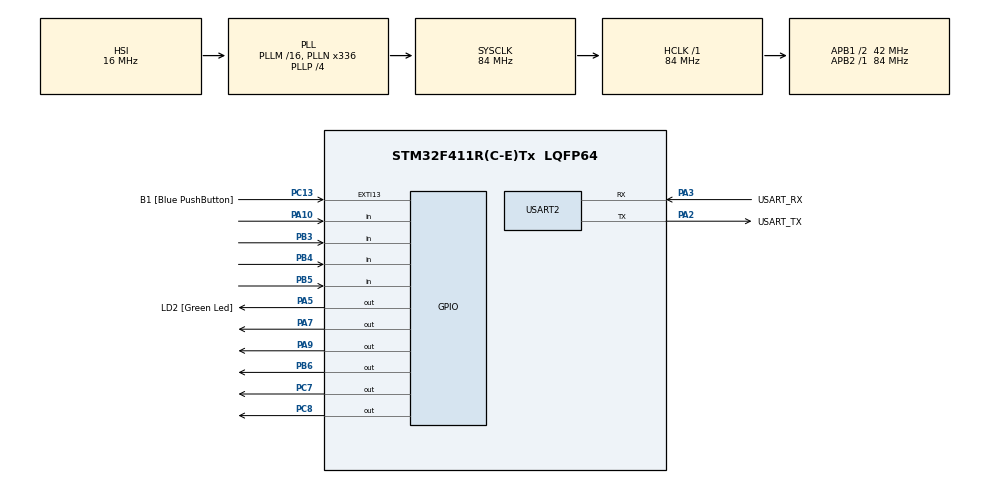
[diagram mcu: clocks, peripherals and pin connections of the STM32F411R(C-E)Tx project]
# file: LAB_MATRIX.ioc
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Mcu.Family=STM32F4
Mcu.Name=STM32F411R(C-E)Tx
Mcu.Package=LQFP64
NVIC.PriorityGroup=NVIC_PRIORITYGROUP_0
PA10.GPIO_PuPd=GPIO_PULLUP
PA10.Signal=GPIO_Input
PA13.GPIO_Label=TMS
PA13.Mode=Serial_Wire
PA13.Signal=SYS_JTMS-SWDIO
PA14.GPIO_Label=TCK
PA14.Mode=Serial_Wire
PA14.Signal=SYS_JTCK-SWCLK
PA2.GPIO_Label=USART_TX
PA2.Mode=Asynchronous
PA2.Signal=USART2_TX
PA3.GPIO_Label=USART_RX
PA3.Mode=Asynchronous
PA3.Signal=USART2_RX
PA5.GPIO_Label=LD2 [Green Led]
PA5.Signal=GPIO_Output
PA7.GPIO_ModeDefaultOutputPP=GPIO_MODE_OUTPUT_OD
PA7.PinState=GPIO_PIN_SET
PA7.Signal=GPIO_Output
PA9.GPIO_ModeDefaultOutputPP=GPIO_MODE_OUTPUT_OD
PA9.PinState=GPIO_PIN_SET
PA9.Signal=GPIO_Output
PB3.GPIO_PuPd=GPIO_PULLUP
PB3.Signal=GPIO_Input
PB4.GPIO_PuPd=GPIO_PULLUP
PB4.Signal=GPIO_Input
PB5.GPIO_PuPd=GPIO_PULLUP
PB5.Signal=GPIO_Input
PB6.GPIO_ModeDefaultOutputPP=GPIO_MODE_OUTPUT_OD
PB6.PinState=GPIO_PIN_SET
PB6.Signal=GPIO_Output
PC13-ANTI_TAMP.GPIO_Label=B1 [Blue PushButton]
PC13-ANTI_TAMP.GPIO_ModeDefaultEXTI=GPIO_MODE_IT_FALLING
PC13-ANTI_TAMP.Signal=GPXTI13
PC14-OSC32_IN.Mode=LSE-External-Oscillator
PC14-OSC32_IN.Signal=RCC_OSC32_IN
PC15-OSC32_OUT.Mode=LSE-External-Oscillator
PC15-OSC32_OUT.Signal=RCC_OSC32_OUT
PC7.GPIO_ModeDefaultOutputPP=GPIO_MODE_OUTPUT_OD
PC7.PinState=GPIO_PIN_SET
PC7.Signal=GPIO_Output
PC8.Signal=GPIO_Output
PH0\ -\ OSC_IN.Mode=HSE-External-Clock-Source
PH0\ -\ OSC_IN.Signal=RCC_OSC_IN
PH1\ -\ OSC_OUT.Mode=HSE-External-Clock-Source
PH1\ -\ OSC_OUT.Signal=RCC_OSC_OUT
ProjectManager.HeapSize=0x200
ProjectManager.StackSize=0x400
ProjectManager.TargetToolchain=STM32CubeIDE
RCC.48MHZClocksFreq_Value=84000000
RCC.AHBFreq_Value=84000000
RCC.APB1CLKDivider=RCC_HCLK_DIV2
RCC.APB1Freq_Value=42000000
RCC.APB1TimFreq_Value=84000000
RCC.APB2Freq_Value=84000000
RCC.APB2TimFreq_Value=84000000
RCC.CortexFreq_Value=84000000
RCC.FLatency-AdvancedSettings=FLASH_LATENCY_2
RCC.HCLKFreq_Value=84000000
RCC.HSE_VALUE=8000000
RCC.HSI_VALUE=16000000
RCC.PLLN=336
RCC.PLLP=RCC_PLLP_DIV4
RCC.SYSCLKFreq_VALUE=84000000
RCC.SYSCLKSource=RCC_SYSCLKSOURCE_PLLCLK
RCC.VCOOutputFreq_Value=336000000
USART2.VirtualMode=VM_ASYNC
board=NUCLEO-F411RE

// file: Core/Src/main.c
/* USER CODE BEGIN Header */
/**
 ******************************************************************************
 * @file           : main.c
 * @brief          : Main program body
 ******************************************************************************
 * @attention
 *
 * <h2><center>&copy; Copyright (c) 2021 STMicroelectronics.
 * All rights reserved.</center></h2>
 *
 * This software component is licensed by ST under BSD 3-Clause license,
 * the "License"; You may not use this file except in compliance with the
 * License. You may obtain a copy of the License at:
 *                        opensource.org/licenses/BSD-3-Clause
 *
 ******************************************************************************
 */
/* USER CODE END Header */
#include "main.h"

UART_HandleTypeDef huart2;

/* USER CODE BEGIN PV */
//save status matrix
/* USER CODE END PV */

void SystemClock_Config(void);
static void MX_GPIO_Init(void);
static void MX_USART2_UART_Init(void);
/* USER CODE BEGIN PFP */
//scan and update of button matrix
uint16_t ButtonMatrixState = 0;
uint32_t ButtonMatrixTimestamp = 0;
uint32_t numnow = 0;
uint8_t state = 1;
uint16_t ButtonMatrixstatepre=0;

enum {
	one=1,two,three,four,five,six,saven,egg,nine,ten,even,twelve,waitclear,clear = 10,BS = 11,ok = 12
	};
void ButtonMatrixUpdate();
void checknumpress();
void q();

/* USER CODE END PFP */

int main(void)
{

  /* MCU Configuration--------------------------------------------------------*/

  /* Reset of all peripherals, Initializes the Flash interface and the Systick. */
  HAL_Init();

  /* Configure the system clock */
  SystemClock_Config();

  /* Initialize all configured peripherals */
  MX_GPIO_Init();
  MX_USART2_UART_Init();
  /* USER CODE BEGIN 2 */

  HAL_GPIO_WritePin(GPIOA, GPIO_PIN_5, RESET);
  HAL_GPIO_WritePin(GPIOC, GPIO_PIN_8, SET);
  /* USER CODE END 2 */

  /* Infinite loop */
  /* USER CODE BEGIN WHILE */
	while (1) {

		ButtonMatrixUpdate();
		checknumpress();
		q();

    /* USER CODE END WHILE */

	}
}

void SystemClock_Config(void)
{
  RCC_OscInitTypeDef RCC_OscInitStruct = {0};
  RCC_ClkInitTypeDef RCC_ClkInitStruct = {0};

  /** Configure the main internal regulator output voltage
  */
  __HAL_RCC_PWR_CLK_ENABLE();
  __HAL_PWR_VOLTAGESCALING_CONFIG(PWR_REGULATOR_VOLTAGE_SCALE1);
  /** Initializes the RCC Oscillators according to the specified parameters
  * in the RCC_OscInitTypeDef structure.
  */
  RCC_OscInitStruct.OscillatorType = RCC_OSCILLATORTYPE_HSI;
  RCC_OscInitStruct.HSIState = RCC_HSI_ON;
  RCC_OscInitStruct.HSICalibrationValue = RCC_HSICALIBRATION_DEFAULT;
  RCC_OscInitStruct.PLL.PLLState = RCC_PLL_ON;
  RCC_OscInitStruct.PLL.PLLSource = RCC_PLLSOURCE_HSI;
  RCC_OscInitStruct.PLL.PLLM = 16;
  RCC_OscInitStruct.PLL.PLLN = 336;
  RCC_OscInitStruct.PLL.PLLP = RCC_PLLP_DIV4;
  RCC_OscInitStruct.PLL.PLLQ = 4;
  if (HAL_RCC_OscConfig(&RCC_OscInitStruct) != HAL_OK)
  {
    Error_Handler();
  }
  /** Initializes the CPU, AHB and APB buses clocks
  */
  RCC_ClkInitStruct.ClockType = RCC_CLOCKTYPE_HCLK|RCC_CLOCKTYPE_SYSCLK
                              |RCC_CLOCKTYPE_PCLK1|RCC_CLOCKTYPE_PCLK2;
  RCC_ClkInitStruct.SYSCLKSource = RCC_SYSCLKSOURCE_PLLCLK;
  RCC_ClkInitStruct.AHBCLKDivider = RCC_SYSCLK_DIV1;
  RCC_ClkInitStruct.APB1CLKDivider = RCC_HCLK_DIV2;
  RCC_ClkInitStruct.APB2CLKDivider = RCC_HCLK_DIV1;

  if (HAL_RCC_ClockConfig(&RCC_ClkInitStruct, FLASH_LATENCY_2) != HAL_OK)
  {
    Error_Handler();
  }
}

static void MX_USART2_UART_Init(void)
{

  huart2.Instance = USART2;
  huart2.Init.BaudRate = 115200;
  huart2.Init.WordLength = UART_WORDLENGTH_8B;
  huart2.Init.StopBits = UART_STOPBITS_1;
  huart2.Init.Parity = UART_PARITY_NONE;
  huart2.Init.Mode = UART_MODE_TX_RX;
  huart2.Init.HwFlowCtl = UART_HWCONTROL_NONE;
  huart2.Init.OverSampling = UART_OVERSAMPLING_16;
  if (HAL_UART_Init(&huart2) != HAL_OK)
  {
    Error_Handler();
  }

}

static void MX_GPIO_Init(void)
{
  GPIO_InitTypeDef GPIO_InitStruct = {0};

  /* GPIO Ports Clock Enable */
  __HAL_RCC_GPIOC_CLK_ENABLE();
  __HAL_RCC_GPIOH_CLK_ENABLE();
  __HAL_RCC_GPIOA_CLK_ENABLE();
  __HAL_RCC_GPIOB_CLK_ENABLE();

  /*Configure GPIO pin Output Level */
  HAL_GPIO_WritePin(LD2_GPIO_Port, LD2_Pin, GPIO_PIN_RESET);

  /*Configure GPIO pin Output Level */
  HAL_GPIO_WritePin(GPIOA, GPIO_PIN_7|GPIO_PIN_9, GPIO_PIN_SET);

  /*Configure GPIO pin Output Level */
  HAL_GPIO_WritePin(GPIOC, GPIO_PIN_7, GPIO_PIN_SET);

  /*Configure GPIO pin Output Level */
  HAL_GPIO_WritePin(GPIOC, GPIO_PIN_8, GPIO_PIN_RESET);

  /*Configure GPIO pin Output Level */
  HAL_GPIO_WritePin(GPIOB, GPIO_PIN_6, GPIO_PIN_SET);

  /*Configure GPIO pin : B1_Pin */
  GPIO_InitStruct.Pin = B1_Pin;
  GPIO_InitStruct.Mode = GPIO_MODE_IT_FALLING;
  GPIO_InitStruct.Pull = GPIO_NOPULL;
  HAL_GPIO_Init(B1_GPIO_Port, &GPIO_InitStruct);

  /*Configure GPIO pin : LD2_Pin */
  GPIO_InitStruct.Pin = LD2_Pin;
  GPIO_InitStruct.Mode = GPIO_MODE_OUTPUT_PP;
  GPIO_InitStruct.Pull = GPIO_NOPULL;
  GPIO_InitStruct.Speed = GPIO_SPEED_FREQ_LOW;
  HAL_GPIO_Init(LD2_GPIO_Port, &GPIO_InitStruct);

  /*Configure GPIO pins : PA7 PA9 */
  GPIO_InitStruct.Pin = GPIO_PIN_7|GPIO_PIN_9;
  GPIO_InitStruct.Mode = GPIO_MODE_OUTPUT_OD;
  GPIO_InitStruct.Pull = GPIO_NOPULL;
  GPIO_InitStruct.Speed = GPIO_SPEED_FREQ_LOW;
  HAL_GPIO_Init(GPIOA, &GPIO_InitStruct);

  /*Configure GPIO pin : PC7 */
  GPIO_InitStruct.Pin = GPIO_PIN_7;
  GPIO_InitStruct.Mode = GPIO_MODE_OUTPUT_OD;
  GPIO_InitStruct.Pull = GPIO_NOPULL;
  GPIO_InitStruct.Speed = GPIO_SPEED_FREQ_LOW;
  HAL_GPIO_Init(GPIOC, &GPIO_InitStruct);

  /*Configure GPIO pin : PC8 */
  GPIO_InitStruct.Pin = GPIO_PIN_8;
  GPIO_InitStruct.Mode = GPIO_MODE_OUTPUT_PP;
  GPIO_InitStruct.Pull = GPIO_NOPULL;
  GPIO_InitStruct.Speed = GPIO_SPEED_FREQ_LOW;
  HAL_GPIO_Init(GPIOC, &GPIO_InitStruct);

  /*Configure GPIO pin : PA10 */
  GPIO_InitStruct.Pin = GPIO_PIN_10;
  GPIO_InitStruct.Mode = GPIO_MODE_INPUT;
  GPIO_InitStruct.Pull = GPIO_PULLUP;
  HAL_GPIO_Init(GPIOA, &GPIO_InitStruct);

  /*Configure GPIO pins : PB3 PB4 PB5 */
  GPIO_InitStruct.Pin = GPIO_PIN_3|GPIO_PIN_4|GPIO_PIN_5;
  GPIO_InitStruct.Mode = GPIO_MODE_INPUT;
  GPIO_InitStruct.Pull = GPIO_PULLUP;
  HAL_GPIO_Init(GPIOB, &GPIO_InitStruct);

  /*Configure GPIO pin : PB6 */
  GPIO_InitStruct.Pin = GPIO_PIN_6;
  GPIO_InitStruct.Mode = GPIO_MODE_OUTPUT_OD;
  GPIO_InitStruct.Pull = GPIO_NOPULL;
  GPIO_InitStruct.Speed = GPIO_SPEED_FREQ_LOW;
  HAL_GPIO_Init(GPIOB, &GPIO_InitStruct);

}

/* USER CODE BEGIN 4 */
GPIO_TypeDef *ButtonmatrixPort[8] = { GPIOA, GPIOB, GPIOB, GPIOB, GPIOA, GPIOC,
		GPIOB, GPIOA };
uint16_t ButtonMatrixPin[8] = { GPIO_PIN_10, GPIO_PIN_3, GPIO_PIN_5, GPIO_PIN_4,
		GPIO_PIN_9, GPIO_PIN_7, GPIO_PIN_6, GPIO_PIN_7 };
uint8_t ButtonMatrixLine = 0;
uint8_t ButtonMatrixRow = 0;
void ButtonMatrixUpdate() {
	if (HAL_GetTick() - ButtonMatrixTimestamp >= 100) {
		ButtonMatrixTimestamp = HAL_GetTick();
		for (int i = 0; i < 4; i++) {
			GPIO_PinState Pinstate;
			Pinstate = HAL_GPIO_ReadPin(ButtonmatrixPort[i],
					ButtonMatrixPin[i]);
			if (Pinstate == GPIO_PIN_RESET) {
				ButtonMatrixState |= (uint16_t) 0x1
						<< (i + ButtonMatrixRow * 4);
			} else {
				ButtonMatrixState &= ~((uint16_t) 0x1
						<< (i + ButtonMatrixRow * 4));
			}

		}
		uint8_t NowoutputPin = ButtonMatrixRow + 4;
		HAL_GPIO_WritePin(ButtonmatrixPort[NowoutputPin],
				ButtonMatrixPin[NowoutputPin], GPIO_PIN_SET);
		ButtonMatrixRow = (ButtonMatrixRow + 1) % 4;
		uint8_t NextoutputPin = ButtonMatrixRow + 4;
		HAL_GPIO_WritePin(ButtonmatrixPort[NextoutputPin],
				ButtonMatrixPin[NextoutputPin], GPIO_PIN_RESET);

	}

}
void checknumpress() {
	if (ButtonMatrixState == 0b1000000000000) {
		numnow=0;
	} else if (ButtonMatrixState == 0b100000000) {
		numnow=1;
	} else if (ButtonMatrixState == 0b1000000000) {
		numnow=2;
	} else if (ButtonMatrixState == 0b10000000000) {
		numnow= 3;
	} else if (ButtonMatrixState == 0b10000) {
		numnow= 4;
	} else if (ButtonMatrixState == 0b100000) {
		numnow= 5;
	} else if (ButtonMatrixState == 0b1000000) {
		numnow= 6;
	} else if (ButtonMatrixState == 0b1) {
		numnow=7;
	} else if (ButtonMatrixState == 0b10) {
		numnow=8;
	} else if (ButtonMatrixState == 0b100) {
		numnow=9;
	} else if (ButtonMatrixState == 0b1000) {
		numnow=10;
	} else if (ButtonMatrixState == 0b10000000) {
		numnow=11;
	} else if (ButtonMatrixState == 0b1000000000000000) {
		numnow= 12;
	} else {
		numnow=255;
	}
}
void q(){

			switch (state) {
				case waitclear:
					if ((ButtonMatrixState != 0) && (ButtonMatrixstatepre!=ButtonMatrixState)){
						if (numnow == clear) {
							state = one;
						}
					}
				break;
	 			case one:
					if ((ButtonMatrixState != 0) && (ButtonMatrixstatepre!=ButtonMatrixState)){
						if (numnow == 6) {
							state = two;
						}else if (numnow == clear){
							state = one;
						}else if (numnow == BS){
							state = one;
						}else if (numnow == ok){
							state = one;
						}else{
							state=waitclear;
						}
					}
				break;
	 			case two:
					if ((ButtonMatrixState != 0) && (ButtonMatrixstatepre!=ButtonMatrixState)){
						if (numnow == 2) {
							state = three;
						}else if (numnow == clear){
							state = one;
						}else if (numnow == BS){
							state = one;
						}else if (numnow == ok){
							state = one;
						}else{
							state=waitclear;
						}
					}
	 			break;
	 			case three:
					if ((ButtonMatrixState != 0) && (ButtonMatrixstatepre!=ButtonMatrixState)){
						if (numnow == 3) {
							state = four;
						}else if (numnow == clear){
							state = one;
						}else if (numnow == BS){
							state = two;
						}else if (numnow == ok){
							state = one;
						}else{
							state=waitclear;
						}
					}
	 			break;
	 			case four:
					if ((ButtonMatrixState != 0) && (ButtonMatrixstatepre!=ButtonMatrixState)){
						if (numnow == 4) {
							state = five;
						}else if (numnow == clear){
							state = one;
						}else if (numnow == BS){
							state = three;
						}else if (numnow == ok){
							state = one;
						}else{
							state=waitclear;
						}
					}
				break;
	 			case five:
					if ((ButtonMatrixState != 0) && (ButtonMatrixstatepre!=ButtonMatrixState)){
						if (numnow == 0) {
							state = six;
						}else if (numnow == clear){
							state = one;
						}else if (numnow == BS){
							state = four;
						}else if (numnow == ok){
							state = one;
						}else{
							state=waitclear;
						}
					}
	 			break;
	 			case six:
					if ((ButtonMatrixState != 0) && (ButtonMatrixstatepre!=ButtonMatrixState)){
						if (numnow == 5) {
							state = saven;
						}else if (numnow == clear){
							state = one;
						}else if (numnow == BS){
							state = five;
						}else if (numnow == ok){
							state = one;
						}else{
							state=waitclear;
						}
					}
	 			break;
	 			case saven:
					if ((ButtonMatrixState != 0) && (ButtonMatrixstatepre!=ButtonMatrixState)){
						if (numnow == 0) {
							state = egg;
						}else if (numnow == clear){
							state = one;
						}else if (numnow == BS){
							state = six;
						}else if (numnow == ok){
							state = one;
						}else{
							state=waitclear;
						}
					}
	 			break;
	 			case egg:
					if ((ButtonMatrixState != 0) && (ButtonMatrixstatepre!=ButtonMatrixState)){
						if (numnow == 0) {
							state = nine;
						}else if (numnow == clear){
							state = one;
						}else if (numnow == BS){
							state = saven;
						}else if (numnow == ok){
							state = one;
						}else{
							state=waitclear;
						}
					}
	 			break;
				case nine:
					if ((ButtonMatrixState != 0) && (ButtonMatrixstatepre!=ButtonMatrixState)){
						if (numnow == 0) {
							state = ten;
						}else if (numnow == clear){
							state = one;
						}else if (numnow == BS){
							state = egg;
						}else if (numnow == ok){
							state = one;
						}else{
							state=waitclear;
						}
					}
	 			break;
				case ten:
					if ((ButtonMatrixState != 0) && (ButtonMatrixstatepre!=ButtonMatrixState)){
						if (numnow == 2) {
							state = even;
						}else if (numnow == clear){
							state = one;
						}else if (numnow == BS){
							state = nine;
						}else if (numnow == ok){
							state = one;
						}else{
							state=waitclear;
						}
					}
				break;
				case even:
					if ((ButtonMatrixState != 0) && (ButtonMatrixstatepre!=ButtonMatrixState)){
						if (numnow == 6) {
							state = twelve;
						}else if (numnow == clear){
							state = one;
						}else if (numnow == BS){
							state = ten;
						}else if (numnow == ok){
							state = one;
						}else{
							state=waitclear;
						}
					}
				break;
				case twelve:
					if ((ButtonMatrixState != 0) && (ButtonMatrixstatepre!=ButtonMatrixState)){
						if (numnow == clear){
							state = one;
						}else if (numnow == BS){
							state = even;
						}else if (numnow == ok){
							HAL_GPIO_WritePin(GPIOC, GPIO_PIN_8, RESET);
							HAL_GPIO_WritePin(GPIOA, GPIO_PIN_5, SET);
							state = one;
						}else{
							state=waitclear;
						}
					}
				break;
			}
			ButtonMatrixstatepre=ButtonMatrixState;
}

/* USER CODE END 4 */

void Error_Handler(void)
{
	__disable_irq();
	while (1) {
	}
}

/************************ (C) COPYRIGHT STMicroelectronics *****END OF FILE****/
